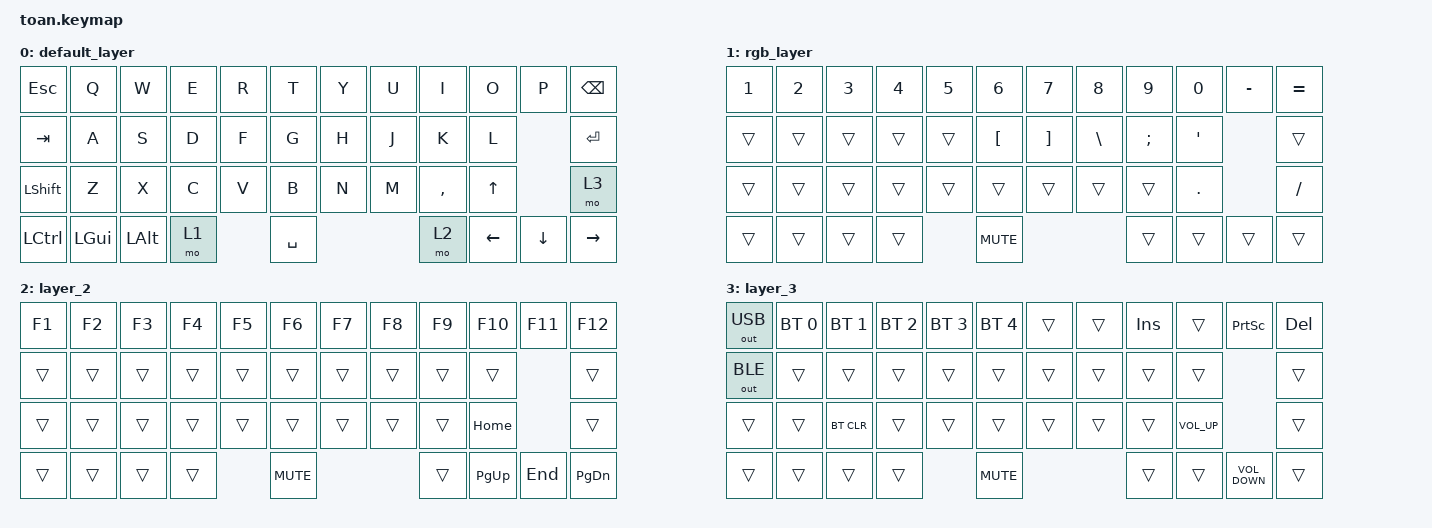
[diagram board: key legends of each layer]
#include <behaviors.dtsi>
#include <dt-bindings/zmk/bt.h>
#include <dt-bindings/zmk/keys.h>
#include <dt-bindings/zmk/outputs.h>

/ {
    keymap {
        compatible = "zmk,keymap";

        default_layer {
            // -------------------------------------------------------------------------------------------
            // | ESC |  1  |  2  |  3  |  4  |  5  |  6  |  7  |  8  |  9  |  0  |  -  |  =  | BKSP |BKSP|
            // | TAB  |  Q  |  W  |  E  |  R  |  T  |  Y  |  U  |  I  |  O  |  P  |  [  |  ]  |   "|"    |
            // | CAPS  |  A  |  S  |  D  |  F  |  G  |  H  |  J  |  K  |  L  |  ;  |  '  |     ENTER     |
            // |  SHIFT  |  Z  |  X  |  C  |  V  |  B  |  N  |  M  |  ,  |  .  |   SHFT   |  UP  |   /   |
            // |  CTL  |  WIN  |  ALT  |           SPACE             | FN(1) | WIN | LEFT | DOWN | RIGHT |
            // -------------------------------------------------------------------------------------------

            bindings = <
&kp ESC    &kp Q     &kp W     &kp E  &kp R  &kp T      &kp Y  &kp U  &kp I      &kp O           &kp P           &kp BSPC
&kp TAB    &kp A     &kp S     &kp D  &kp F  &kp G      &kp H  &kp J  &kp K      &kp L                           &kp ENTER
&kp LSHFT  &kp Z     &kp X     &kp C  &kp V  &kp B      &kp N  &kp M  &kp COMMA  &kp UP_ARROW                    &mo 3
&kp LCTRL  &kp LGUI  &kp LALT  &mo 1         &kp SPACE                &mo 2      &kp LEFT_ARROW  &kp DOWN_ARROW  &kp RIGHT_ARROW
            >;
        };

        rgb_layer {
            // ------------------------------------------------------------------------------------------------
            // | BT CLR | F1  | F2  | F3  | F4  | F5  | F6  | F7  | F8  | F9  | F10 | F11 | F12 | BOOT | BOOT |
            // |  BT 1   | TOG  |  UP |   | HUEUP | SATUP | BRIUP | SPDUP |   |     |   |    |    |  RGB_efect|
            // |   BT 2   | LT |  DN  | RT | HUEDN | SATDN | BRIDN | SPDDN |   |     |   |     |  EFFECT FORW |
            // |    BT 3     |     |      |      |     |     |     |     |     |     |     |                  |
            // |   BT 4  |      |      |             TOG RGB                | PRT SCR |    |    |     |  DEL  |
            // ------------------------------------------------------------------------------------------------

            bindings = <
&kp N1  &kp N2  &kp N3  &kp N4  &kp N5  &kp N6      &kp N7    &kp N8    &kp N9    &kp N0    &kp MINUS  &kp EQUAL
&trans  &trans  &trans  &trans  &trans  &kp LBKT    &kp RBKT  &kp BSLH  &kp SEMI  &kp APOS             &trans
&trans  &trans  &trans  &trans  &trans  &trans      &trans    &trans    &trans    &kp DOT              &kp FSLH
&trans  &trans  &trans  &trans          &kp K_MUTE                      &trans    &trans    &trans     &trans
            >;
        };

        layer_2 {
            bindings = <
&kp F1  &kp F2  &kp F3  &kp F4  &kp F5  &kp F6      &kp F7  &kp F8  &kp F9  &kp F10      &kp F11  &kp F12
&trans  &trans  &trans  &trans  &trans  &trans      &trans  &trans  &trans  &trans                &trans
&trans  &trans  &trans  &trans  &trans  &trans      &trans  &trans  &trans  &kp HOME              &trans
&trans  &trans  &trans  &trans          &kp K_MUTE                  &trans  &kp PAGE_UP  &kp END  &kp PAGE_DOWN
            >;
        };

        layer_3 {
            bindings = <
&out OUT_USB  &bt BT_SEL 0  &bt BT_SEL 1  &bt BT_SEL 2  &bt BT_SEL 3  &bt BT_SEL 4  &trans  &trans  &kp INSERT  &trans           &kp PRINTSCREEN    &kp DELETE
&out OUT_BLE  &trans        &trans        &trans        &trans        &trans        &trans  &trans  &trans      &trans                              &trans
&trans        &trans        &bt BT_CLR    &trans        &trans        &trans        &trans  &trans  &trans      &kp K_VOLUME_UP                     &trans
&trans        &trans        &trans        &trans                      &kp K_MUTE                    &trans      &trans           &kp K_VOLUME_DOWN  &trans
            >;
        };
    };
};
